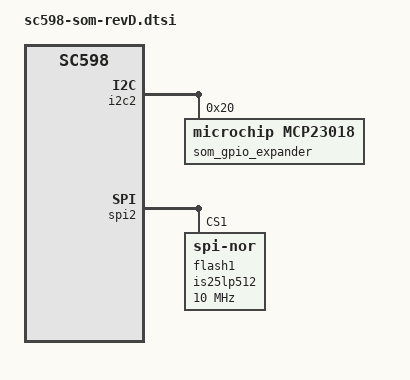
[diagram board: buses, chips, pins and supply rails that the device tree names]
// SPDX-License-Identifier: GPL-2.0-or-later
/*
 * (C) Copyright 2025 - Analog Devices, Inc.
 */

/dts-v1/;

#include "sc598-som.dtsi"

&i2c2 {
	som_gpio_expander: mcp23018@20 {
		compatible = "microchip,mcp23018";
		reg = <0x20>;
		gpio-controller;
		#gpio-cells = <2>;
		bootph-pre-ram;
		drive-pullups;

		led1 {
			gpio-hog;
			gpios = <0 GPIO_ACTIVE_HIGH>;
			output-low;
			line-name = "led1-en";
			bootph-pre-ram;
		};

		led2 {
			gpio-hog;
			gpios = <1 GPIO_ACTIVE_HIGH>;
			output-low;
			line-name = "led2-en";
			bootph-pre-ram;
		};

		led3 {
			gpio-hog;
			gpios = <2 GPIO_ACTIVE_HIGH>;
			output-low;
			line-name = "led3-en";
			bootph-pre-ram;
		};

		spi2d2-d3 {
			gpio-hog;
			gpios = <3 GPIO_ACTIVE_LOW>;
			output-high;
			line-name = "spi2d2-d3-en";
			bootph-pre-ram;
		};

		spi2flash-cs {
			gpio-hog;
			gpios = <4 GPIO_ACTIVE_LOW>;
			output-high;
			line-name = "spi2flash-cs";
			bootph-pre-ram;
		};

		uart0 {
			gpio-hog;
			gpios = <5 GPIO_ACTIVE_LOW>;
			output-high;
			line-name = "uart0-en";
			bootph-pre-ram;
		};

		uart0-flow-en {
			gpio-hog;
			gpios = <6 GPIO_ACTIVE_LOW>;
			output-low;
			line-name = "uart0-flow-en";
			bootph-pre-ram;
		};

		som-emmc {
			gpio-hog;
			gpios = <8 GPIO_ACTIVE_LOW>;
			output-high;
			line-name = "som-emmc-en";
			bootph-pre-ram;
		};

		crr-sdcard {
			gpio-hog;
			gpios = <9 GPIO_ACTIVE_LOW>;
			output-low;
			line-name = "crr-sdcard-en";
			bootph-pre-ram;
		};
	};
};

&spi2 {
	flash1: is25lp512@1 {
		#address-cells = <1>;
		#size-cells = <1>;
		compatible = "jedec,spi-nor", "is25lp512";
		reg = <1>;
		spi-tx-bus-width = <4>;
		spi-rx-bus-width = <4>;
		spi-max-frequency = <10000000>;
		bootph-pre-ram;
	};
};
